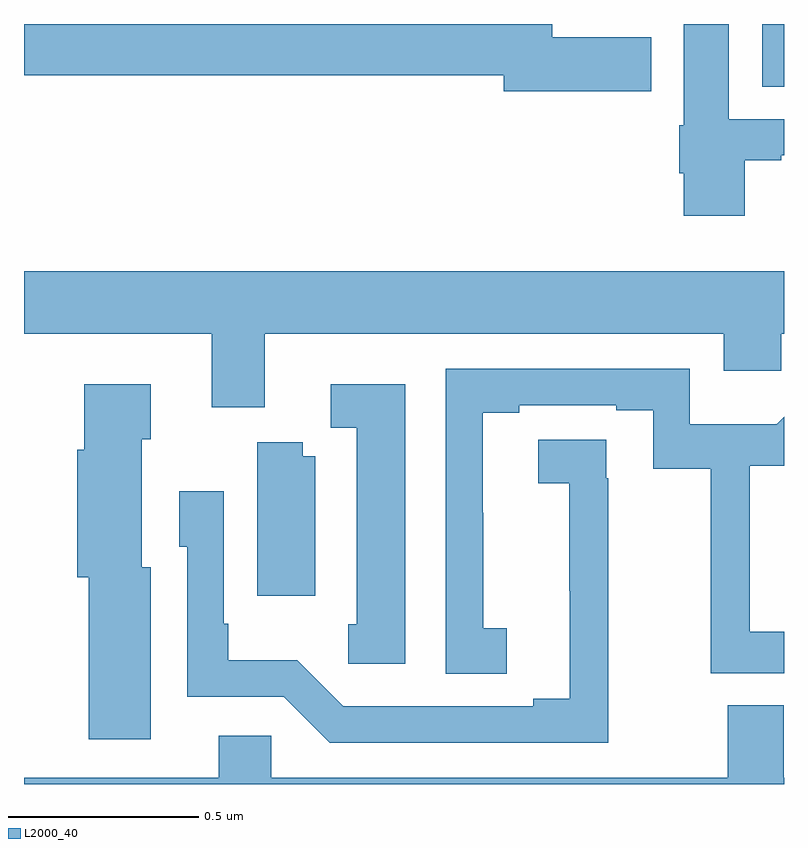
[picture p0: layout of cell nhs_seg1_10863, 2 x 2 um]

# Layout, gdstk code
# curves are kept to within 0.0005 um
import gdstk
lib = gdstk.Library(unit=1e-6, precision=1e-09)
def R(c, l, rs):  # rectangles x0, y0, x1, y1
    for r in rs: c.add(gdstk.rectangle(r[:2], r[2:], *l))
def P(c, l, *ps):  # polygons
    for p in ps: c.add(gdstk.Polygon(p, *l))
L2000_40 = (2000, 40)

nhs_seg1_10863 = lib.new_cell('nhs_seg1_10863')
R(nhs_seg1_10863, L2000_40, [(247.943,567.034,248,567.199)])
P(nhs_seg1_10863, L2000_40, [(247.897,566.841),(247.993,566.841),(247.993,566.853),(248,566.853),(248,566.949),(247.855,566.949),(247.855,567.199),(247.736,567.199),(247.736,566.933),(247.724,566.933),(247.724,566.806),(247.736,566.806),(247.736,566.694),(247.897,566.694)],
  [(247.651,567.164),(247.39,567.164),(247.39,567.199),(246,567.199),(246,567.064),(247.262,567.064),(247.262,567.022),(247.651,567.022)],
  [(246.634,566.384),(247.841,566.384),(247.841,566.286),(247.993,566.286),(247.993,566.384),(248,566.384),(248,566.548),(246,566.548),(246,566.384),(246.494,566.384),(246.494,566.19),(246.634,566.19)],
  [(247.27,565.609),(247.209,565.609),(247.209,565.913),(247.207,565.913),(247.207,566.176),(247.303,566.176),(247.303,566.196),(247.559,566.196),(247.559,566.182),(247.656,566.182),(247.656,566.029),(247.807,566.029),(247.807,565.491),(248,565.491),(248,565.6),(247.91,565.6),(247.91,566.037),(248,566.037),(248,566.165),(247.981,566.146),(247.752,566.146),(247.752,566.292),(247.11,566.292),(247.11,565.489),(247.27,565.489)],
  [(247.003,566.251),(246.807,566.251),(246.807,566.136),(246.875,566.136),(246.875,565.62),(246.853,565.62),(246.853,565.515),(247.003,565.515)],
  [(246.334,565.77),(246.31,565.77),(246.31,566.106),(246.334,566.106),(246.334,566.251),(246.158,566.251),(246.158,566.079),(246.14,566.079),(246.14,565.743),(246.17,565.743),(246.17,565.317),(246.334,565.317)],
  [(247.538,566.003),(247.532,566.003),(247.532,566.105),(247.353,566.105),(247.353,565.99),(247.435,565.99),(247.436,565.424),(247.34,565.424),(247.34,565.404),(246.84,565.404),(246.719,565.525),(246.538,565.525),(246.538,565.621),(246.525,565.621),(246.525,565.969),(246.408,565.969),(246.408,565.824),(246.429,565.824),(246.429,565.428),(246.684,565.428),(246.804,565.308),(247.538,565.308)],
  [(246.766,566.062),(246.734,566.062),(246.734,566.099),(246.614,566.099),(246.614,565.695),(246.766,565.695)],
  [(248,565.216),(247.999,565.216),(247.999,565.406),(247.852,565.406),(247.852,565.216),(246.651,565.216),(246.651,565.326),(246.512,565.326),(246.512,565.216),(246,565.216),(246,565.199),(248,565.199)])

lib.write_gds('nhs_seg1_10863.gds')
